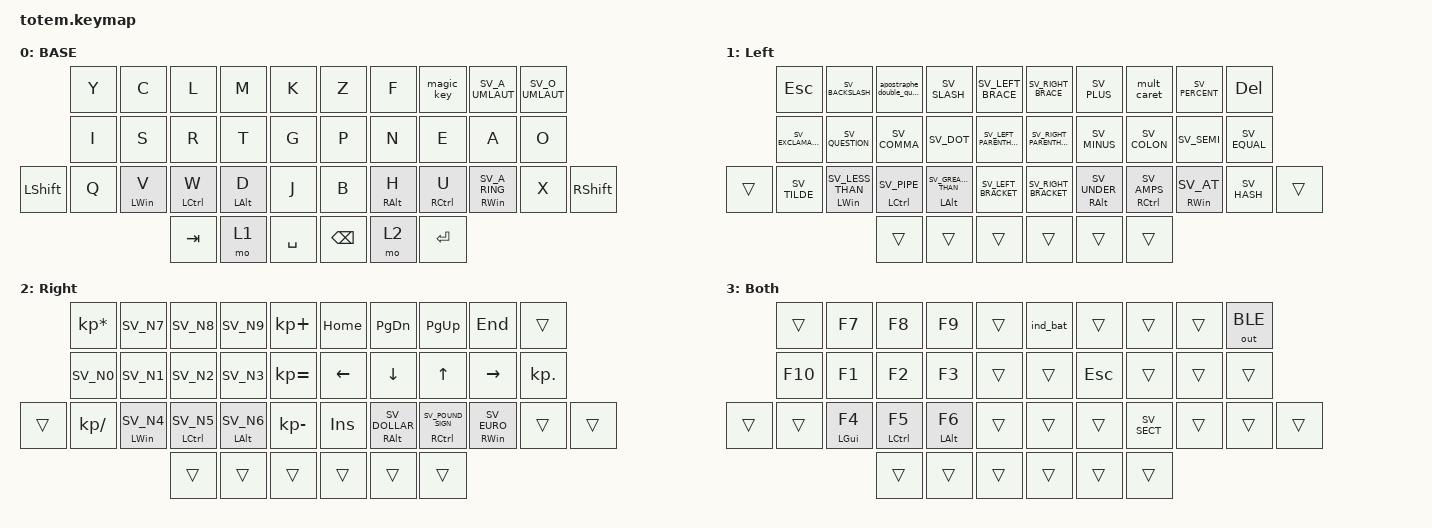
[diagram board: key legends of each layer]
//
//                                                        ▀▀▀▀▀     ▀▀▀▀▀          ▀▀█▀▀
//                                                        ▄▀▀▀▄  ▄  ▄▀▀▀▄  ▄  ▄▀▀▀▄  █  ▄▀▀▀▄
//                                                        █   █  █  █   █  █  █   █  █  █   █
//                                                         ▀▀▀   █   ▀▀▀   █   ▀▀▀   ▀   ▀▀▀
//                                                               █      ▄▄▄█▄▄▄    █   █  
//                                                               ▀      █  █  █     █▄█
//                                                             ▀▀▀▀▀    █  █  █      ▀
//                                                                      ▀  ▀  ▀
//
// ▄▄▄▄▄▄▄▄▄▄▄▄▄▄▄▄▄▄▄▄▄▄▄▄▄▄▄▄▄▄▄▄▄▄▄▄▄▄▄▄▄▄▄▄▄▄▄▄▄▄▄▄▄▄▄▄▄▄▄▄▄▄▄▄▄▄▄▄▄▄▄▄▄▄▄▄▄▄▄▄▄▄▄▄▄▄▄▄▄▄▄▄▄▄▄▄▄▄▄▄▄▄▄▄▄▄▄▄▄▄▄▄▄▄▄▄▄▄▄▄▄▄▄▄▄▄▄▄▄▄▄▄▄▄▄▄▄▄▄▄▄▄▄▄▄▄▄▄▄

#include <behaviors.dtsi>
#include <dt-bindings/zmk/keys.h>
#include <dt-bindings/zmk/outputs.h>
#include <behaviors/rgbled_widget.dtsi>
#include <locale/keys_sv.h>

#define BASE 0
#define NAV  1
#define SYM  2
#define ADJ  3

&mt {
    quick-tap-ms = <100>;
    global-quick-tap;
    flavor = "tap-preferred";
    tapping-term-ms = <170>;
};

/ {
    combos { compatible = "zmk,combos"; 
        combo_acc_grave {
            timeout-ms = <50>;
            key-positions = <1 2>;
            bindings = <&kp SV_GRAVE>;
            layers = <1>;
        };
        combo_acute {
            timeout-ms = <50>;
            key-positions = <2 3>;
            bindings = <&kp SV_ACUTE>;
            layers = <1>;
        };
        combo_nav_esc {
            timeout-ms = <50>;
            key-positions = <16 17>;
            bindings = <&kp ESCAPE>;
            layers = <2>;
            require-prior-idle-ms = <150>;
        };
    };

    behaviors {
        apostraphe_double_quotes: apostraphe_double_quotes {
            compatible = "zmk,behavior-tap-dance";
            #binding-cells = <0>;
            tapping-term-ms = <300>;
            bindings = <&kp SV_APOSTROPHE>, <&kp SV_DOUBLE_QUOTES>;
        };

        hml: hml {
            compatible = "zmk,behavior-hold-tap";
            label = "HML";
            bindings = <&kp>, <&kp>;

            #binding-cells = <2>;
            flavor = "balanced";
            require-prior-idle-ms = <175>;
            quick-tap-ms = <175>;
            tapping-term-ms = <280>;
            hold-trigger-key-positions = <5 6 7 8 9 15 16 17 18 19 26 27 28 29 30 31 37 36 35 34 33 32>;
            hold-trigger-on-release;
        };

        hmr: hmr {
            compatible = "zmk,behavior-hold-tap";
            label = "HMR";
            bindings = <&kp>, <&kp>;

            #binding-cells = <2>;
            flavor = "balanced";
            require-prior-idle-ms = <175>;
            quick-tap-ms = <175>;
            tapping-term-ms = <280>;
            hold-trigger-on-release;
            hold-trigger-key-positions = <37 36 35 0 1 11 2 3 4 12 13 14 23 24 25 32 33 34 20 21 22 22 10>;
        };
        
        magic_key: magic_key {
            compatible = "zmk,behavior-adaptive-key";
            #binding-cells = <0>;
            bindings = <&none>;
            akt_ph { trigger-keys = <P>; max-prior-idle-ms = <300>; bindings = <&kp H>;};
            akt_ox { trigger-keys = <O>; max-prior-idle-ms = <300>; bindings = <&kp X>;};
            akt_sc { trigger-keys = <S>; max-prior-idle-ms = <300>; bindings = <&kp C>;};
            akt_tj { trigger-keys = <T>; max-prior-idle-ms = <300>; bindings = <&kp J>;};
            akt_dj { trigger-keys = <D>; max-prior-idle-ms = <300>; bindings = <&kp J>;};
            akt_kj { trigger-keys = <K>; max-prior-idle-ms = <300>; bindings = <&kp J>;};
            akt_gj { trigger-keys = <G>; max-prior-idle-ms = <300>; bindings = <&kp J>;};
        };

        mult_caret: mult_caret {
            compatible = "zmk,behavior-tap-dance";
            #binding-cells = <0>;
            tapping-term-ms = <300>;
            bindings = <&kp SV_ASTERISK>, <&kp SV_CARET>;
        };


    };

    keymap {
        compatible = "zmk,keymap";

        // ▄▄▄▄▄▄▄▄▄▄▄▄▄▄▄▄▄▄▄▄▄▄▄▄▄▄▄▄▄▄▄▄▄▄▄▄▄▄▄▄▄▄▄▄▄▄▄▄▄▄▄▄▄▄▄▄▄▄▄▄▄▄▄▄▄▄▄▄▄▄▄▄▄▄▄▄▄▄▄▄▄▄▄▄▄▄▄▄▄▄▄▄▄▄▄▄▄▄▄▄▄▄▄▄▄▄▄▄▄▄▄▄▄▄▄▄▄▄▄▄▄▄▄▄▄▄▄▄▄▄▄▄▄▄▄▄▄▄▄▄▄▄▄▄▄▄▄▄▄

        base_layer {
            // ┏━━━━━━━━━━━━━━━━━━━━━━━━━━━━━━━━━━━━━━━┓

            label = "BASE";

            // ┗━━━━━━━━━━━━━━━━━━━━━━━━━━━━━━━━━━━━━━━┛
            //             ┏━━━━━━━━━━━┳━━━━━━━━━━━┳━━━━━━━━━━━┳━━━━━━━━━━━┳━━━━━━━━━━━┓   ┏━━━━━━━━━━━┳━━━━━━━━━━━┳━━━━━━━━━━━┳━━━━━━━━━━━┳━━━━━━━━━━━┓
            //             ┃     Y     ┃     C     ┃     L     ┃     M     ┃     K     ┃   ┃     Z     ┃     F     ┃   MAGIC   ┃     Ä     ┃     Ö     ┃
            //             ┣━━━━━━━━━━━╋━━━━━━━━━━━╋━━━━━━━━━━━╋━━━━━━━━━━━╋━━━━━━━━━━━┫   ┣━━━━━━━━━━━╋━━━━━━━━━━━╋━━━━━━━━━━━╋━━━━━━━━━━━╋━━━━━━━━━━━┫
            //             ┃     I     ┃     S     ┃     R     ┃     T     ┃     G     ┃   ┃     P     ┃     N     ┃     E     ┃     A     ┃     O     ┃
            // ┏━━━━━━━━━━━╋━━━━━━━━━━━╋━━━━━━━━━━━╋━━━━━━━━━━━╋━━━━━━━━━━━╋━━━━━━━━━━━┫   ┣━━━━━━━━━━━╋━━━━━━━━━━━╋━━━━━━━━━━━╋━━━━━━━━━━━╋━━━━━━━━━━━╋━━━━━━━━━━━┓
            // ┃LEFT_SHIFT ┃     Q     ┃  V LWIN   ┃  W LCTRL  ┃  D LALT   ┃     J     ┃   ┃     B     ┃  H  RALT  ┃  U RCTRL  ┃   Å RWIN  ┃     X     ┃RIGHT_SHIFT┃
            // ┗━━━━━━━━━━━┻━━━━━━━━━━━┻━━━━━━━━━━━╋━━━━━━━━━━━╋━━━━━━━━━━━╋━━━━━━━━━━━┫   ┣━━━━━━━━━━━╋━━━━━━━━━━━╋━━━━━━━━━━━╋━━━━━━━━━━━┻━━━━━━━━━━━┻━━━━━━━━━━━┛
            //                                     ┃    TAB    ┃  MO_LEFT  ┃    SPC    ┃   ┃   BSPC    ┃  MO_RIGHT ┃    RET    ┃
            //                                     ┗━━━━━━━━━━━┻━━━━━━━━━━━┻━━━━━━━━━━━┛   ┗━━━━━━━━━━━┻━━━━━━━━━━━┻━━━━━━━━━━━┛

            bindings = <
                &kp Y  &kp C            &kp L                &kp M            &kp K        &kp Z          &kp F             &magic_key             &kp SV_A_UMLAUT            &kp SV_O_UMLAUT
                &kp I  &kp S            &kp R                &kp T            &kp G        &kp P          &kp N             &kp E                  &kp A                      &kp O
&kp LEFT_SHIFT  &kp Q  &hml LEFT_WIN V  &hml LEFT_CONTROL W  &hml LEFT_ALT D  &kp J        &kp B          &hmr RIGHT_ALT H  &hmr RIGHT_CONTROL U   &hmr RIGHT_WIN SV_A_RING   &kp X           &kp RIGHT_SHIFT
                                        &kp TAB              &mo 1            &kp SPACE    &kp BACKSPACE  &mo 2             &kp RET
            >;
        };

        // ▄▄▄▄▄▄▄▄▄▄▄▄▄▄▄▄▄▄▄▄▄▄▄▄▄▄▄▄▄▄▄▄▄▄▄▄▄▄▄▄▄▄▄▄▄▄▄▄▄▄▄▄▄▄▄▄▄▄▄▄▄▄▄▄▄▄▄▄▄▄▄▄▄▄▄▄▄▄▄▄▄▄▄▄▄▄▄▄▄▄▄▄▄▄▄▄▄▄▄▄▄▄▄▄▄▄▄▄▄▄▄▄▄▄▄▄▄▄▄▄▄▄▄▄▄▄▄▄▄▄▄▄▄▄▄▄▄▄▄▄▄▄▄▄▄▄▄▄▄

        left_thumb_layer {
            // ┏━━━━━━━━━━━━━━━━━━━━━━━━━━━━━━━━━━━━━━━┓

            label = "Left";

            // ┗━━━━━━━━━━━━━━━━━━━━━━━━━━━━━━━━━━━━━━━┛
            //             ┏━━━━━━━━━━━┳━━━━━━━━━━━┳━━━━━━━━━━━┳━━━━━━━━━━━┳━━━━━━━━━━━┓   ┏━━━━━━━━━━━┳━━━━━━━━━━━┳━━━━━━━━━━━┳━━━━━━━━━━━┳━━━━━━━━━━━┓
            //             ┃  ESCAPE   ┃     \     ┃    ' "    ┃     /     ┃     {     ┃   ┃     }     ┃     +     ┃    * ^    ┃     %     ┃    Del    ┃
            //             ┣━━━━━━━━━━━╋━━━━━━━━━━━╋━━━━━━━━━━━╋━━━━━━━━━━━╋━━━━━━━━━━━┫   ┣━━━━━━━━━━━╋━━━━━━━━━━━╋━━━━━━━━━━━╋━━━━━━━━━━━╋━━━━━━━━━━━┫
            //             ┃     !     ┃     ?     ┃     ,     ┃     .     ┃     (     ┃   ┃     )     ┃     -     ┃     :     ┃     ;     ┃     =     ┃
            // ┏━━━━━━━━━━━╋━━━━━━━━━━━╋━━━━━━━━━━━╋━━━━━━━━━━━╋━━━━━━━━━━━╋━━━━━━━━━━━┫   ┣━━━━━━━━━━━╋━━━━━━━━━━━╋━━━━━━━━━━━╋━━━━━━━━━━━╋━━━━━━━━━━━╋━━━━━━━━━━━┓
            // ┃LEFT_SHIFT ┃     ~     ┃  < LWIN   ┃  | LCTRL  ┃  > LALT   ┃     [     ┃   ┃     ]     ┃     _     ┃     &     ┃     @     ┃     #     ┃RIGHT_SHIFT┃
            // ┗━━━━━━━━━━━┻━━━━━━━━━━━┻━━━━━━━━━━━╋━━━━━━━━━━━╋━━━━━━━━━━━╋━━━━━━━━━━━┫   ┣━━━━━━━━━━━╋━━━━━━━━━━━╋━━━━━━━━━━━╋━━━━━━━━━━━┻━━━━━━━━━━━┻━━━━━━━━━━━┛
            //                                     ┃   TRANS   ┃   TRANS   ┃   TRANS   ┃   ┃   TRANS   ┃   TRANS   ┃   TRANS   ┃
            //                                     ┗━━━━━━━━━━━┻━━━━━━━━━━━┻━━━━━━━━━━━┛   ┗━━━━━━━━━━━┻━━━━━━━━━━━┻━━━━━━━━━━━┛

            bindings = <
        &kp ESCAPE          &kp SV_BACKSLASH            &apostraphe_double_quotes  &kp SV_SLASH                  &kp SV_LEFT_BRACE        &kp SV_RIGHT_BRACE        &kp SV_PLUS             &mult_caret                &kp SV_PERCENT       &kp DELETE
        &kp SV_EXCLAMATION  &kp SV_QUESTION             &kp SV_COMMA               &kp SV_DOT                    &kp SV_LEFT_PARENTHESIS  &kp SV_RIGHT_PARENTHESIS  &kp SV_MINUS            &kp SV_COLON               &kp SV_SEMI          &kp SV_EQUAL
&trans  &kp SV_TILDE        &hml LEFT_WIN SV_LESS_THAN  &hml LEFT_CONTROL SV_PIPE  &hml LEFT_ALT SV_GREATER_THAN &kp SV_LEFT_BRACKET      &kp SV_RIGHT_BRACKET      &hmr RIGHT_ALT SV_UNDER &hmr RIGHT_CONTROL SV_AMPS &hmr RIGHT_WIN SV_AT &kp SV_HASH  &trans
                                                  &trans                     &trans                      &trans                  &trans                 &trans                &trans
            >;
        };

        // ▄▄▄▄▄▄▄▄▄▄▄▄▄▄▄▄▄▄▄▄▄▄▄▄▄▄▄▄▄▄▄▄▄▄▄▄▄▄▄▄▄▄▄▄▄▄▄▄▄▄▄▄▄▄▄▄▄▄▄▄▄▄▄▄▄▄▄▄▄▄▄▄▄▄▄▄▄▄▄▄▄▄▄▄▄▄▄▄▄▄▄▄▄▄▄▄▄▄▄▄▄▄▄▄▄▄▄▄▄▄▄▄▄▄▄▄▄▄▄▄▄▄▄▄▄▄▄▄▄▄▄▄▄▄▄▄▄▄▄▄▄▄▄▄▄▄▄▄▄
        //  
        // ▄▄▄▄▄▄▄▄▄▄▄▄▄▄▄▄▄▄▄▄▄▄▄▄▄▄▄▄▄▄▄▄▄▄▄▄▄▄▄▄▄▄▄▄▄▄▄▄▄▄▄▄▄▄▄▄▄▄▄▄▄▄▄▄▄▄▄▄▄▄▄▄▄▄▄▄▄▄▄▄▄▄▄▄▄▄▄▄▄▄▄▄▄▄▄▄▄▄▄▄▄▄▄▄▄▄▄▄▄▄▄▄▄▄▄▄▄▄▄▄▄▄▄▄▄▄▄▄▄▄▄▄▄▄▄▄▄▄▄▄▄▄▄▄▄▄▄▄▄

        right_thumb_layer {           
        // ┏━━━━━━━━━━━━━━━━━━━━━━━━━━━━━━━━━━━━━━━┓

            label = "Right";

        // ┗━━━━━━━━━━━━━━━━━━━━━━━━━━━━━━━━━━━━━━━┛
        //             ┏━━━━━━━━━━━┳━━━━━━━━━━━┳━━━━━━━━━━━┳━━━━━━━━━━━┳━━━━━━━━━━━┓   ┏━━━━━━━━━━━┳━━━━━━━━━━━┳━━━━━━━━━━━┳━━━━━━━━━━━┳━━━━━━━━━━━┓
        //             ┃     *     ┃     7     ┃     8     ┃     9     ┃     +     ┃   ┃    HOME   ┃ PAGE_DOWN ┃  PAGE_UP  ┃    END    ┃   TRANS   ┃
        //             ┣━━━━━━━━━━━╋━━━━━━━━━━━╋━━━━━━━━━━━╋━━━━━━━━━━━╋━━━━━━━━━━━┫   ┣━━━━━━━━━━━╋━━━━━━━━━━━╋━━━━━━━━━━━╋━━━━━━━━━━━╋━━━━━━━━━━━┫
        //             ┃     0     ┃     1     ┃     2     ┃     3     ┃     =     ┃   ┃   LEFT    ┃    DOWN   ┃    UP     ┃   RIGHT   ┃     .     ┃
        // ┏━━━━━━━━━━━╋━━━━━━━━━━━╋━━━━━━━━━━━╋━━━━━━━━━━━╋━━━━━━━━━━━╋━━━━━━━━━━━┫   ┣━━━━━━━━━━━╋━━━━━━━━━━━╋━━━━━━━━━━━╋━━━━━━━━━━━╋━━━━━━━━━━━╋━━━━━━━━━━━┓
        // ┃LEFT_SHIFT ┃     /     ┃  4 LWIN   ┃  5 LCTRL  ┃  6 LALT   ┃     -     ┃   ┃    INS    ┃  $ RCTRL  ┃  £ RALT   ┃  € RWIN   ┃   TRANS   ┃RIGHT_SHIFT┃
        // ┗━━━━━━━━━━━┻━━━━━━━━━━━┻━━━━━━━━━━━╋━━━━━━━━━━━╋━━━━━━━━━━━╋━━━━━━━━━━━┫   ┣━━━━━━━━━━━╋━━━━━━━━━━━╋━━━━━━━━━━━╋━━━━━━━━━━━┻━━━━━━━━━━━┻━━━━━━━━━━━┛
        //                                     ┃   TRANS   ┃   TRANS   ┃   TRANS   ┃   ┃   TRANS   ┃   TRANS   ┃   TRANS   ┃
        //                                     ┗━━━━━━━━━━━┻━━━━━━━━━━━┻━━━━━━━━━━━┛   ┗━━━━━━━━━━━┻━━━━━━━━━━━┻━━━━━━━━━━━┛
            bindings = <
        &kp KP_MULTIPLY &kp SV_N7            &kp SV_N8               &kp SV_N9            &kp KP_PLUS        &kp HOME  &kp PAGE_DOWN            &kp PAGE_UP                      &kp END                &trans
        &kp SV_N0       &kp SV_N1            &kp SV_N2               &kp SV_N3            &kp KP_EQUAL       &kp LEFT  &kp DOWN                 &kp UP_ARROW                     &kp RIGHT              &kp KP_DOT
&trans  &kp KP_DIVIDE   &hml LEFT_WIN SV_N4  &hml LEFT_CONTROL SV_N5 &hml LEFT_ALT SV_N6  &kp KP_SUBTRACT    &kp INS   &hmr RIGHT_ALT SV_DOLLAR &hmr RIGHT_CONTROL SV_POUND_SIGN &hmr RIGHT_WIN SV_EURO &trans     &trans
                                                 &trans                      &trans                  &trans             &trans    &trans                 &trans
            >;
        };

        both_thumbs_layes {
        // ┏━━━━━━━━━━━━━━━━━━━━━━━━━━━━━━━━━━━━━━━┓

            label = "Both";

        // ┗━━━━━━━━━━━━━━━━━━━━━━━━━━━━━━━━━━━━━━━┛
        //             ┏━━━━━━━━━━━┳━━━━━━━━━━━┳━━━━━━━━━━━┳━━━━━━━━━━━┳━━━━━━━━━━━┓   ┏━━━━━━━━━━━┳━━━━━━━━━━━┳━━━━━━━━━━━┳━━━━━━━━━━━┳━━━━━━━━━━━┓
        //             ┃   TRANS   ┃     F7    ┃     F8    ┃     F9    ┃   TRANS   ┃   ┃  IND_BAT  ┃   TRANS   ┃   TRANS   ┃   TRANS   ┃  OUT_BLE  ┃
        //             ┣━━━━━━━━━━━╋━━━━━━━━━━━╋━━━━━━━━━━━╋━━━━━━━━━━━╋━━━━━━━━━━━┫   ┣━━━━━━━━━━━╋━━━━━━━━━━━╋━━━━━━━━━━━╋━━━━━━━━━━━╋━━━━━━━━━━━┫
        //             ┃    F10    ┃     F1    ┃     F2    ┃     F3    ┃   TRANS   ┃   ┃   TRANS   ┃    ESC    ┃   TRANS   ┃   TRANS   ┃   TRANS   ┃
        // ┏━━━━━━━━━━━╋━━━━━━━━━━━╋━━━━━━━━━━━╋━━━━━━━━━━━╋━━━━━━━━━━━╋━━━━━━━━━━━┫   ┣━━━━━━━━━━━╋━━━━━━━━━━━╋━━━━━━━━━━━╋━━━━━━━━━━━╋━━━━━━━━━━━╋━━━━━━━━━━━┓
        // ┃LEFT_SHIFT ┃   TRANS   ┃  F4 LWIN  ┃  F5 LCTRL ┃  F6 LALT  ┃   TRANS   ┃   ┃   TRANS   ┃   TRANS   ┃     §     ┃   TRANS   ┃   TRANS   ┃RIGHT_SHIFT┃
        // ┗━━━━━━━━━━━┻━━━━━━━━━━━┻━━━━━━━━━━━╋━━━━━━━━━━━╋━━━━━━━━━━━╋━━━━━━━━━━━┫   ┣━━━━━━━━━━━╋━━━━━━━━━━━╋━━━━━━━━━━━╋━━━━━━━━━━━┻━━━━━━━━━━━┻━━━━━━━━━━━┛
        //                                     ┃   TRANS   ┃   TRANS   ┃   TRANS   ┃   ┃   TRANS   ┃   TRANS   ┃   TRANS   ┃
        //                                     ┗━━━━━━━━━━━┻━━━━━━━━━━━┻━━━━━━━━━━━┛   ┗━━━━━━━━━━━┻━━━━━━━━━━━┻━━━━━━━━━━━┛
            bindings = <
        &trans   &kp F7            &kp F8                &kp F9            &trans    &ind_bat &trans      &trans                   &trans            &out OUT_BLE
        &kp F10  &kp F1            &kp F2                &kp F3            &trans    &trans   &kp ESCAPE  &trans                   &trans            &trans
&trans  &trans   &hml LEFT_GUI F4  &hml LEFT_CONTROL F5  &hml LEFT_ALT F6  &trans    &trans   &trans      &kp SV_SECT              &trans            &trans        &trans
                                   &trans                &trans            &trans    &trans   &trans      &trans
            >;
        };
    };

    conditional_layers {
        compatible = "zmk,conditional-layers";

        both_thumbs {
            if-layers = <1 2>;
            then-layer = <3>;
        };
    };
};
